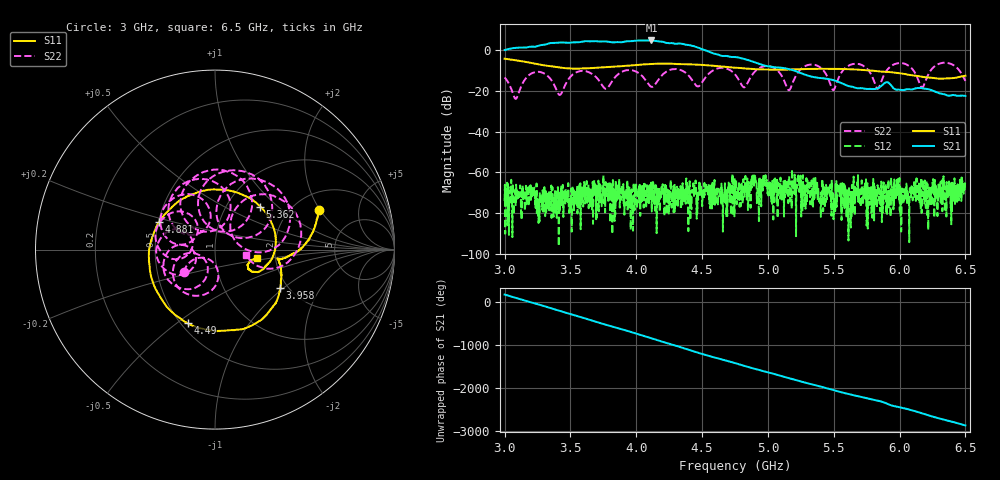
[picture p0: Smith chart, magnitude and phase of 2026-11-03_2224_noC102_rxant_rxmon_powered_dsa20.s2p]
! HEWLETT PACKARD,8720ES,MY41003347,7.72, via bringup/vna_tests.py
! noC102_rxant_rxmon_powered_dsa20
! measured 2026-11-03 22:25:04, 1601 points, 3000000000-6500000000 Hz, IF bandwidth 1000 Hz, source -40.00 dBm, kit CALK35MD
! board A, DSA 20.00 dB (set before each sweep)
! board A, CTRL bits {'tx_dis': 1} set before each sweep
# HZ S RI R 50
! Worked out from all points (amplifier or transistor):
!   1601 points, 3 GHz to 6.5 GHz, reference 50 ohm
!   highest |S21| = 4.8 dB at 4.116 GHz (marker M1)
!   |S21| within 3 dB of that: 3.237 GHz to 4.446 GHz (1.209 GHz wide, 31.5 % of centre)
!   unconditionally stable (mu >= 1): start of sweep to end of sweep
!   at 3.582 GHz: K = 527.35, MAG = 5.1 dB, |S12| = -66.6 dB
!   at 4.75 GHz: K = 2636.84, MAG = -2.3 dB, |S12| = -73.0 dB
!   at 6.5 GHz: K = 11138.27, MAG = -22.1 dB, |S12| = -65.3 dB
!   S11 on the Smith chart (normalised r, x): 3 GHz: 2.71, +1.94; 3.958 GHz: 1.82, -0.95; 4.49 GHz: 0.54, -0.55; 4.881 GHz: 0.50, +0.18; 5.362 GHz: 1.42, +0.78; 6.5 GHz: 1.60, -0.15
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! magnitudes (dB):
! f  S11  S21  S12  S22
! 3 GHz  -4.2  0.1  -74.0  -13.4
! 3.085 GHz  -5.0  1.2  -67.2  -23.9
! 3.278 GHz  -7.2  2.6  -72.4  -10.8
! 3.42 GHz  -8.5  3.8  -71.5  -22.0
! 3.584 GHz  -9.0  4.1  -69.4  -10.1
! 3.77 GHz  -8.3  4.3  -69.0  -19.0
! 3.958 GHz  -7.5  4.4  -88.3  -9.7
! 4.116 GHz  -6.8  4.8  -68.5  -18.0
! 4.168 GHz  -6.6  4.4  -72.5  -14.4
! 4.49 GHz  -7.2  0.8  -66.5  -16.7
! 4.75 GHz  -8.6  -3.3  -73.0  -11.8
! 4.881 GHz  -9.2  -5.6  -66.5  -12.0
! 5.032 GHz  -9.6  -8.2  -75.5  -8.3
! 5.161 GHz  -9.5  -9.3  -61.9  -19.6
! 5.334 GHz  -9.2  -13.0  -65.2  -7.0
! 5.362 GHz  -9.2  -13.3  -67.2  -7.3
! 5.496 GHz  -9.2  -14.7  -75.4  -19.7
! 5.627 GHz  -9.4  -17.8  -70.4  -7.1
! 5.833 GHz  -10.3  -18.8  -66.3  -18.9
! 5.918 GHz  -10.7  -16.0  -77.8  -8.8
! 6.362 GHz  -13.8  -22.2  -66.9  -6.2
! 6.5 GHz  -12.5  -22.5  -65.3  -15.1
